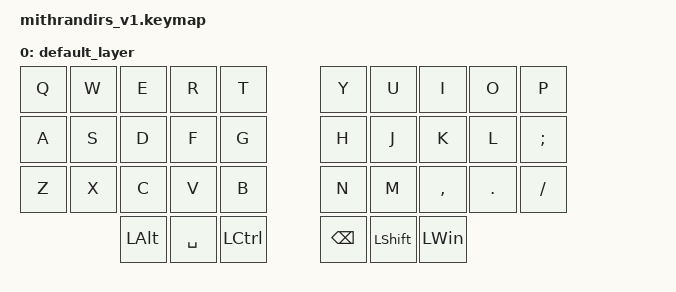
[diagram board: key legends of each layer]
#include <behaviors.dtsi>
#include <dt-bindings/zmk/bt.h>
#include <dt-bindings/zmk/keys.h>

/ {
    keymap {
        compatible = "zmk,keymap";

        default_layer {
// --------------------------------------------------------------------------------------------------------------------------------------------------------------------
// |    Q    |    W    |    E    |    R    |    T    |                                          |    Y    |    U    |    I    |    O    |    P    |
// |    A    |    S    |    D    |    F    |    G    |                                          |    H    |    J    |    K    |    L    |    ;    |
// |    Z    |    X    |    C    |    V    |    B    |                                          |    N    |    M    |    ,    |    .    |    /    |
//                     |  L ALT  |  SPACE  |  LCTRL  |                                          |  BSPC   | LSHIFT  |LEFT_WIN |
            bindings = <
    &kp Q    &kp W    &kp E     &kp R     &kp T                                                 &kp Y     &kp U     &kp I     &kp O     &kp P    
    &kp A    &kp S    &kp D     &kp F     &kp G                                                 &kp H     &kp J     &kp K     &kp L     &kp SEMI 
    &kp Z    &kp X    &kp C     &kp V     &kp B                                                 &kp N     &kp M     &kp COMMA &kp DOT   &kp FSLH 
                      &kp LALT  &kp SPACE &kp LCTRL                                             &kp BSPC   &kp LSHIFT  &kp LEFT_WIN
            >;

        };
    };
};
